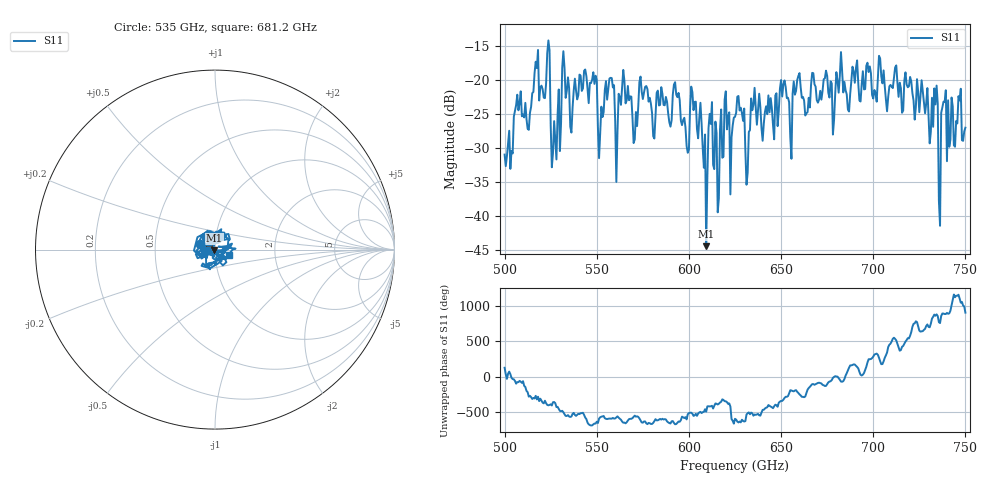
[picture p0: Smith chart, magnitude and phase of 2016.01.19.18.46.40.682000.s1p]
!Created with skrf (http://scikit-rf.org).
# GHz S RI R 50.0
!freq ReS11 ImS11
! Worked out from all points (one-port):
!   401 points, 500 GHz to 750 GHz, reference 50 ohm
!   lowest |S11| = -44.4 dB at 609.4 GHz (marker M1), VSWR 1.01, Z = 49.6 - j0.45 ohm
!   |S11| at or under -10 dB: start of sweep to end of sweep
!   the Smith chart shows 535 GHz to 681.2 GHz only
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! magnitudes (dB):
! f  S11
! 500 GHz  -30.9
! 507.5 GHz  -24.4
! 513.1 GHz  -27.3
! 516.9 GHz  -17.3
! 523.1 GHz  -16.1
! 526.9 GHz  -26.0
! 531.2 GHz  -18.2
! 548.8 GHz  -20.5
! 551.9 GHz  -27.6
! 557.5 GHz  -19.6
! 562.5 GHz  -22.5
! 593.8 GHz  -22.5
! 598.8 GHz  -29.7
! 602.5 GHz  -24.4
! 609.4 GHz  -44.4
! 611.9 GHz  -26.4
! 615 GHz  -27.7
! 625 GHz  -25.4
! 631.9 GHz  -33.6
! 635 GHz  -23.6
! 656.2 GHz  -22.0
! 659.4 GHz  -19.4
! 687.5 GHz  -22.0
! 718.8 GHz  -21.0
! 733.8 GHz  -23.6
! 736.2 GHz  -41.4
! 738.1 GHz  -23.1
! 750 GHz  -27.0
